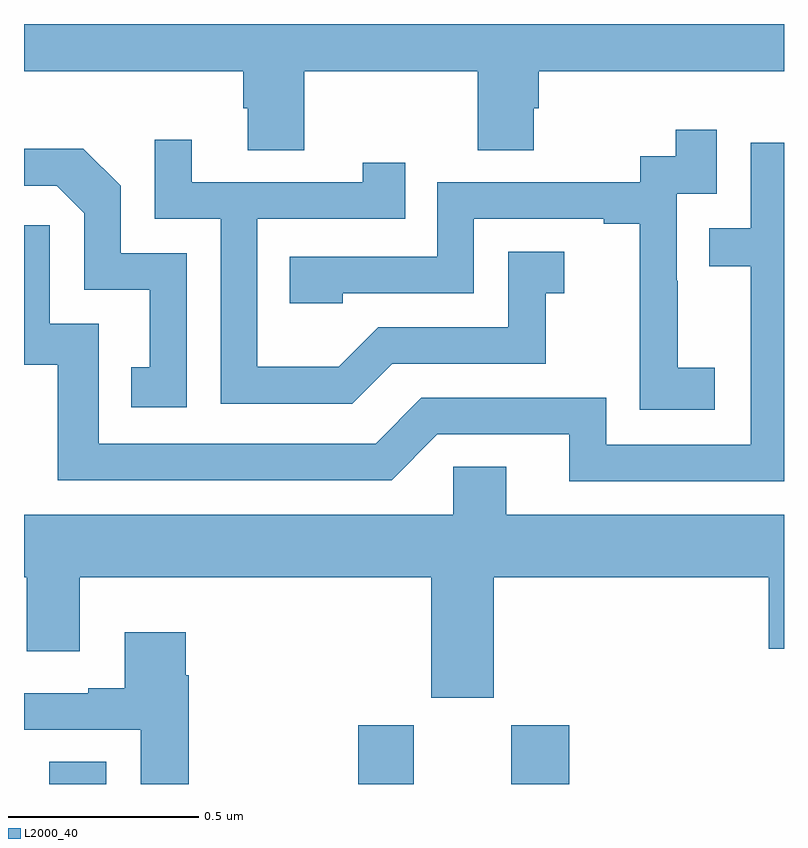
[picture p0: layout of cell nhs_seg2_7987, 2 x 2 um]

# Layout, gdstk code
import gdstk
lib = gdstk.Library(unit=1e-6, precision=1e-09)
def R(c, l, rs):  # rectangles x0, y0, x1, y1
    for r in rs: c.add(gdstk.rectangle(r[:2], r[2:], *l))
def P(c, l, *ps):  # polygons
    for p in ps: c.add(gdstk.Polygon(p, *l))
L2000_40 = (2000, 40)

nhs_seg2_7987 = lib.new_cell('nhs_seg2_7987')
R(nhs_seg2_7987, L2000_40, [(211.067,605.8,211.216,605.858), (211.879,605.8,212.026,605.955), (212.282,605.8,212.435,605.955)])
P(nhs_seg2_7987, L2000_40, [(211.737,607.676),(212.194,607.676),(212.194,607.468),(212.341,607.468),(212.341,607.578),(212.354,607.578),(212.354,607.676),(213,607.676),(213,607.8),(211,607.8),(211,607.676),(211.577,607.676),(211.577,607.578),(211.589,607.578),(211.589,607.468),(211.737,607.468)],
  [(212.818,606.895),(212.72,606.895),(212.72,607.124),(212.718,607.124),(212.718,607.353),(212.823,607.353),(212.823,607.522),(212.715,607.522),(212.715,607.452),(212.622,607.452),(212.622,607.383),(212.088,607.383),(212.088,607.188),(211.699,607.188),(211.699,607.065),(211.839,607.065),(211.839,607.092),(212.184,607.092),(212.184,607.287),(212.525,607.287),(212.525,607.275),(212.621,607.275),(212.621,606.991),(212.62,606.991),(212.62,606.785),(212.818,606.785)],
  [(211.969,606.906),(212.373,606.906),(212.373,607.091),(212.422,607.091),(212.422,607.201),(212.274,607.201),(212.274,607.002),(211.932,607.002),(211.828,606.898),(211.614,606.898),(211.614,607.287),(212.003,607.287),(212.003,607.435),(211.892,607.435),(211.892,607.383),(211.441,607.383),(211.441,607.495),(211.344,607.495),(211.344,607.287),(211.518,607.287),(211.518,606.801),(211.864,606.801)],
  [(213,607.488),(212.913,607.488),(212.913,607.263),(212.803,607.263),(212.803,607.162),(212.913,607.162),(212.913,606.693),(212.532,606.693),(212.532,606.816),(212.046,606.816),(211.926,606.696),(211.197,606.696),(211.197,607.011),(211.068,607.011),(211.068,607.27),(211,607.27),(211,606.903),(211.089,606.903),(211.089,606.6),(211.968,606.6),(212.088,606.72),(212.435,606.72),(212.435,606.597),(213,606.597)],
  [(211.428,607.197),(211.254,607.197),(211.254,607.374),(211.156,607.472),(211,607.472),(211,607.374),(211.086,607.374),(211.158,607.302),(211.158,607.101),(211.331,607.101),(211.331,606.897),(211.282,606.897),(211.282,606.792),(211.428,606.792)],
  [(212.236,606.344),(212.96,606.344),(212.96,606.156),(213,606.156),(213,606.508),(212.269,606.508),(212.269,606.635),(212.13,606.635),(212.13,606.508),(211,606.508),(211,606.344),(211.007,606.344),(211.007,606.15),(211.147,606.15),(211.147,606.344),(212.072,606.344),(212.072,606.027),(212.236,606.027)],
  [(211.434,606.086),(211.426,606.086),(211.426,606.199),(211.265,606.199),(211.265,606.052),(211.169,606.052),(211.169,606.039),(211,606.039),(211,605.943),(211.307,605.943),(211.307,605.8),(211.434,605.8)])

lib.write_gds('nhs_seg2_7987.gds')
